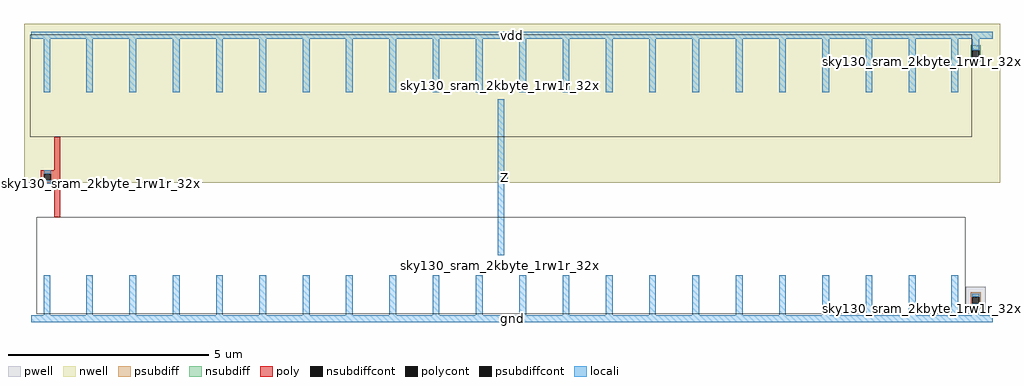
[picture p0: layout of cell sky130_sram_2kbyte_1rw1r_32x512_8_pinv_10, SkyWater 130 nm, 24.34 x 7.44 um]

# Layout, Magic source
magic
tech sky130A
magscale 1 2
<< nwell >>
rect -36 679 4832 1471
<< pwell >>
rect 4660 25 4762 159
<< psubdiff >>
rect 4686 109 4736 133
rect 4686 75 4694 109
rect 4728 75 4736 109
rect 4686 51 4736 75
<< nsubdiff >>
rect 4686 1339 4736 1363
rect 4686 1305 4694 1339
rect 4728 1305 4736 1339
rect 4686 1281 4736 1305
<< psubdiffcont >>
rect 4694 75 4728 109
<< nsubdiffcont >>
rect 4694 1305 4728 1339
<< poly >>
rect 114 740 144 907
rect 48 724 144 740
rect 48 690 64 724
rect 98 690 144 724
rect 48 674 144 690
rect 114 507 144 674
<< polycont >>
rect 64 690 98 724
<< locali >>
rect 0 1397 4796 1431
rect 62 1130 96 1397
rect 274 1130 308 1397
rect 490 1130 524 1397
rect 706 1130 740 1397
rect 922 1130 956 1397
rect 1138 1130 1172 1397
rect 1354 1130 1388 1397
rect 1570 1130 1604 1397
rect 1786 1130 1820 1397
rect 2002 1130 2036 1397
rect 2218 1130 2252 1397
rect 2434 1130 2468 1397
rect 2650 1130 2684 1397
rect 2866 1130 2900 1397
rect 3082 1130 3116 1397
rect 3298 1130 3332 1397
rect 3514 1130 3548 1397
rect 3730 1130 3764 1397
rect 3946 1130 3980 1397
rect 4162 1130 4196 1397
rect 4378 1130 4412 1397
rect 4590 1130 4624 1397
rect 4694 1339 4728 1397
rect 4694 1289 4728 1305
rect 64 724 98 740
rect 64 674 98 690
rect 2326 724 2360 1096
rect 2326 690 2377 724
rect 2326 318 2360 690
rect 62 17 96 218
rect 274 17 308 218
rect 490 17 524 218
rect 706 17 740 218
rect 922 17 956 218
rect 1138 17 1172 218
rect 1354 17 1388 218
rect 1570 17 1604 218
rect 1786 17 1820 218
rect 2002 17 2036 218
rect 2218 17 2252 218
rect 2434 17 2468 218
rect 2650 17 2684 218
rect 2866 17 2900 218
rect 3082 17 3116 218
rect 3298 17 3332 218
rect 3514 17 3548 218
rect 3730 17 3764 218
rect 3946 17 3980 218
rect 4162 17 4196 218
rect 4378 17 4412 218
rect 4590 17 4624 218
rect 4694 109 4728 125
rect 4694 17 4728 75
rect 0 -17 4796 17
use sky130_sram_2kbyte_1rw1r_32x512_8_contact_16  sky130_sram_2kbyte_1rw1r_32x512_8_contact_16_0
transform 1 0 48 0 1 674
box 0 0 1 1
use sky130_sram_2kbyte_1rw1r_32x512_8_contact_29  sky130_sram_2kbyte_1rw1r_32x512_8_contact_29_0
transform 1 0 4686 0 1 51
box 0 0 1 1
use sky130_sram_2kbyte_1rw1r_32x512_8_contact_28  sky130_sram_2kbyte_1rw1r_32x512_8_contact_28_0
transform 1 0 4686 0 1 1281
box 0 0 1 1
use sky130_sram_2kbyte_1rw1r_32x512_8_nmos_m42_w2_000_sli_dli_da_p  sky130_sram_2kbyte_1rw1r_32x512_8_nmos_m42_w2_000_sli_dli_da_p_0
transform 1 0 54 0 1 51
box -26 -26 4604 456
use sky130_sram_2kbyte_1rw1r_32x512_8_pmos_m42_w2_000_sli_dli_da_p  sky130_sram_2kbyte_1rw1r_32x512_8_pmos_m42_w2_000_sli_dli_da_p_0
transform 1 0 54 0 1 963
box -59 -56 4637 454
<< labels >>
rlabel locali s 81 707 81 707 4 A
port 1 nsew
rlabel locali s 2360 707 2360 707 4 Z
port 2 nsew
rlabel locali s 2398 0 2398 0 4 gnd
port 3 nsew
rlabel locali s 2398 1414 2398 1414 4 vdd
port 4 nsew
<< properties >>
string FIXED_BBOX 0 0 4796 1414
string GDS_FILE $PDKPATH/libs.ref/sky130_sram_macros/gds/sky130_sram_2kbyte_1rw1r_32x512_8.gds
string GDS_END 385300
string GDS_START 380742
<< end >>
